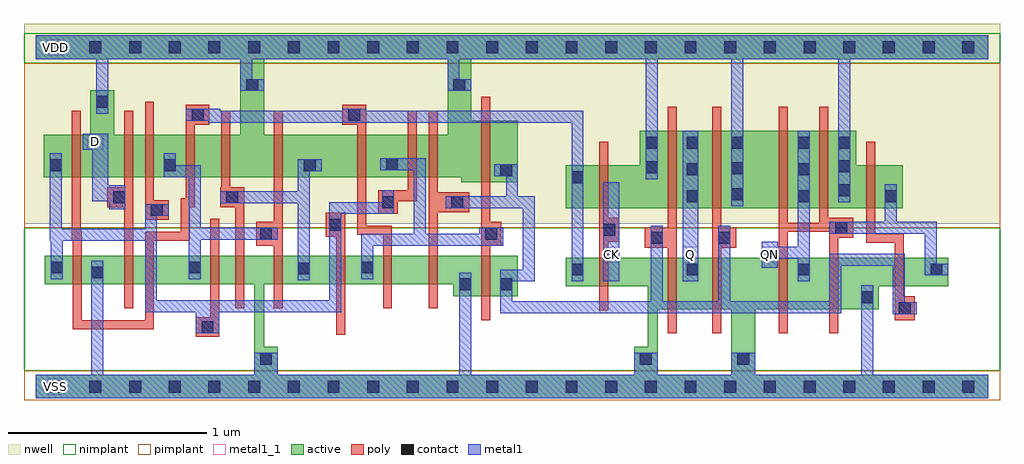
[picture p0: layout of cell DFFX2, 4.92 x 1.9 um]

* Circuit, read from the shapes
.subckt DFFX2 CK D Q QN VDD VSS
M1 VSS n1 n2 VSS nfet w=0.145u l=0.045u
M2 n3 D VSS VSS nfet w=0.145u l=0.045u
M3 n4 n1 n3 VSS nfet w=0.145u l=0.045u
M4 n5 n2 n4 VSS nfet w=0.145u l=0.045u
M5 VSS n6 n5 VSS nfet w=0.145u l=0.045u
M6 n6 n4 VSS VSS nfet w=0.145u l=0.045u
M7 n7 n2 n6 VSS nfet w=0.145u l=0.045u
M8 n8 n1 n7 VSS nfet w=0.145u l=0.045u
M9 VSS n9 n8 VSS nfet w=0.145u l=0.045u
M10 n9 n7 VSS VSS nfet w=0.205u l=0.045u
M11 VSS CK n1 VSS nfet w=0.145u l=0.045u
M12 Q n9 VSS VSS nfet w=0.26u l=0.045u m=2
M13 QN n10 VSS VSS nfet w=0.26u l=0.045u m=2
M14 n10 n9 VSS VSS nfet w=0.145u l=0.045u
M15 VDD n1 n2 VDD pfet w=0.215u l=0.045u
M16 n11 D VDD VDD pfet w=0.215u l=0.045u
M17 n4 n2 n11 VDD pfet w=0.215u l=0.045u
M18 n12 n1 n4 VDD pfet w=0.215u l=0.045u
M19 VDD n6 n12 VDD pfet w=0.215u l=0.045u
M20 n6 n4 VDD VDD pfet w=0.215u l=0.045u
M21 n7 n1 n6 VDD pfet w=0.215u l=0.045u
M22 n13 n2 n7 VDD pfet w=0.215u l=0.045u
M23 VDD n9 n13 VDD pfet w=0.215u l=0.045u
M24 n9 n7 VDD VDD pfet w=0.31u l=0.045u
M25 VDD CK n1 VDD pfet w=0.215u l=0.045u
M26 Q n9 VDD VDD pfet w=0.39u l=0.045u m=2
M27 QN n10 VDD VDD pfet w=0.39u l=0.045u m=2
M28 n10 n9 VDD VDD pfet w=0.215u l=0.045u
.ends

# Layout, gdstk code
import gdstk
lib = gdstk.Library(unit=1e-6, precision=5e-10)
def R(c, l, rs):  # rectangles x0, y0, x1, y1
    for r in rs: c.add(gdstk.rectangle(r[:2], r[2:], *l))
def A(c, l, x, y, w, h, nx, ny, dx, dy):  # array of equal rectangles
    R(c, l, [(x+i*dx, y+j*dy, x+i*dx+w, y+j*dy+h) for i in range(nx) for j in range(ny)])
def P(c, l, *ps):  # polygons
    for p in ps: c.add(gdstk.Polygon(p, *l))
active = (1, 0)
nwell = (2, 0)
poly = (3, 0)
nimplant = (4, 0)
pimplant = (5, 0)
contact = (6, 0)
metal1 = (7, 0)
metal1_1 = (7, 1)

dffx2 = lib.new_cell('DFFX2')
P(dffx2, active, [(0,1.77),(4.8,1.77),(4.8,1.65),(2.195,1.65),(2.195,1.34),(2.43,1.34),(2.43,1.03),(2.145,1.03),(2.145,1.055),(0.04,1.055),(0.04,1.27),(0.275,1.27),(0.275,1.495),(0.395,1.495),(0.395,1.27),(1.03,1.27),(1.03,1.65),(1.15,1.65),(1.15,1.27),(2.075,1.27),(2.075,1.65),(0,1.65)],
  [(3.045,1.29),(4.135,1.29),(4.135,1.115),(4.37,1.115),(4.37,0.9),(2.67,0.9),(2.67,1.115),(3.045,1.115)],
  [(0.045,0.66),(2.43,0.66),(2.43,0.455),(2.105,0.455),(2.105,0.515),(1.15,0.515),(1.15,0.2),(1.22,0.2),(1.22,0.06),(3.015,0.06),(3.015,0.2),(3.085,0.2),(3.085,0.39),(3.135,0.39),(3.135,0.06),(3.505,0.06),(3.505,0.39),(3.085,0.39),(3.085,0.505),(2.67,0.505),(2.67,0.65),(4.6,0.65),(4.6,0.505),(4.25,0.505),(4.25,0.39),(3.625,0.39),(3.625,0.06),(4.8,0.06),(4.8,-0.06),(0,-0.06),(0,0.06),(1.1,0.06),(1.1,0.515),(0.045,0.515)])
R(dffx2, nwell, [(-0.06,0.82,4.86,1.83)])
P(dffx2, poly, [(0.18,1.39),(0.225,1.39),(0.225,0.78),(0.23,0.78),(0.23,0.335),(0.55,0.335),(0.55,0.78),(0.73,0.78),(0.73,0.95),(0.755,0.95),(0.755,1.42),(0.875,1.42),(0.875,1.32),(0.8,1.32),(0.8,0.905),(0.775,0.905),(0.775,0.735),(0.595,0.735),(0.595,0.29),(0.185,0.29),(0.185,0.735),(0.18,0.735)],
  [(0.445,1.39),(0.49,1.39),(0.49,0.395),(0.445,0.395),(0.445,0.905),(0.36,0.905),(0.36,1.005),(0.445,1.005)],
  [(0.55,1.435),(0.595,1.435),(0.595,0.94),(0.67,0.94),(0.67,0.84),(0.55,0.84)],
  [(1.545,1.42),(1.665,1.42),(1.665,0.81),(1.795,0.81),(1.795,0.395),(1.75,0.395),(1.75,0.765),(1.62,0.765),(1.62,1.32),(1.545,1.32)],
  [(0.935,1.39),(0.98,1.39),(0.98,1.005),(1.05,1.005),(1.05,0.395),(1.005,0.395),(1.005,0.905),(0.93,0.905),(0.93,1.005),(0.935,1.005)],
  [(1.2,1.39),(1.245,1.39),(1.245,0.395),(1.2,0.395),(1.2,0.71),(1.11,0.71),(1.11,0.83),(1.2,0.83)],
  [(1.875,1.39),(1.92,1.39),(1.92,0.935),(1.825,0.935),(1.825,0.87),(1.725,0.87),(1.725,0.99),(1.875,0.99)],
  [(1.98,1.39),(2.025,1.39),(2.025,0.98),(2.185,0.98),(2.185,0.88),(2.025,0.88),(2.025,0.395),(1.98,0.395)],
  [(2.245,1.46),(2.29,1.46),(2.29,0.83),(2.345,0.83),(2.345,0.71),(2.29,0.71),(2.29,0.335),(2.245,0.335)],
  [(1.46,0.875),(1.56,0.875),(1.56,0.26),(1.515,0.26),(1.515,0.755),(1.46,0.755)],
  [(3.185,1.41),(3.23,1.41),(3.23,0.27),(3.185,0.27),(3.185,0.7),(3.07,0.7),(3.07,0.8),(3.185,0.8)],
  [(3.41,1.41),(3.455,1.41),(3.455,0.8),(3.53,0.8),(3.53,0.7),(3.455,0.7),(3.455,0.27),(3.41,0.27)],
  [(3.745,1.41),(3.79,1.41),(3.79,0.825),(3.95,0.825),(3.95,1.41),(3.995,1.41),(3.995,0.85),(4.12,0.85),(4.12,0.75),(4.045,0.75),(4.045,0.27),(4,0.27),(4,0.78),(3.79,0.78),(3.79,0.27),(3.745,0.27)],
  [(2.84,1.235),(2.885,1.235),(2.885,0.85),(2.94,0.85),(2.94,0.73),(2.885,0.73),(2.885,0.385),(2.84,0.385)],
  [(4.185,1.235),(4.23,1.235),(4.23,0.77),(4.375,0.77),(4.375,0.455),(4.43,0.455),(4.43,0.335),(4.33,0.335),(4.33,0.725),(4.185,0.725)],
  [(0.88,0.845),(0.925,0.845),(0.925,0.25),(0.805,0.25),(0.805,0.35),(0.88,0.35)])
R(dffx2, nimplant, [(-0.06,0.08,4.86,0.8), (-0.06,1.63,4.86,1.78)])
R(dffx2, pimplant, [(-0.06,-0.07,4.86,0.08), (-0.06,0.8,4.86,1.63)])
A(dffx2, contact, 0.07, -0.03, 0.06, 0.06, 24, 2, 0.2, 1.71)
A(dffx2, contact, 3.28, 0.93, 0.06, 0.06, 1, 3, 0, 0.135)
A(dffx2, contact, 3.84, 0.93, 0.06, 0.06, 1, 3, 0, 0.135)
A(dffx2, contact, 3.505, 0.94, 0.06, 0.06, 1, 3, 0, 0.13)
A(dffx2, contact, 4.045, 0.96, 0.06, 0.06, 1, 3, 0, 0.12)
R(dffx2, contact, [(1.13,0.11,1.19,0.17), (3.045,0.11,3.105,0.17), (3.535,0.11,3.595,0.17), (0.835,0.27,0.895,0.33), (4.35,0.365,4.41,0.425), (4.16,0.42,4.22,0.48), (2.135,0.485,2.195,0.545), (2.34,0.485,2.4,0.545), (0.28,0.545,0.34,0.605), (2.7,0.56,2.76,0.62), (3.28,0.56,3.34,0.62), (3.84,0.56,3.9,0.62), (4.51,0.56,4.57,0.62), (1.32,0.565,1.38,0.625), (0.075,0.57,0.135,0.63), (0.77,0.57,0.83,0.63), (1.64,0.57,1.7,0.63), (3.1,0.72,3.16,0.78), (3.44,0.72,3.5,0.78), (1.13,0.74,1.19,0.8), (2.265,0.74,2.325,0.8), (2.86,0.76,2.92,0.82), (4.03,0.77,4.09,0.83), (1.48,0.785,1.54,0.845), (0.58,0.86,0.64,0.92), (1.745,0.9,1.805,0.96), (2.095,0.9,2.155,0.96), (0.39,0.925,0.45,0.985), (0.96,0.925,1.02,0.985), (4.28,0.93,4.34,0.99), (2.7,1.025,2.76,1.085), (2.34,1.06,2.4,1.12), (3.075,1.075,3.135,1.135), (0.07,1.085,0.13,1.145), (0.645,1.085,0.705,1.145), (1.35,1.085,1.41,1.145), (1.765,1.09,1.825,1.15), (3.075,1.2,3.135,1.26), (0.785,1.34,0.845,1.4), (1.575,1.34,1.635,1.4), (0.305,1.405,0.365,1.465), (1.06,1.49,1.12,1.55), (2.105,1.49,2.165,1.55)])
R(dffx2, metal1, [(2.86,0.53,2.94,1.03), (3.26,0.53,3.34,1.29)])
P(dffx2, metal1, [(0,1.77),(4.8,1.77),(4.8,1.65),(4.105,1.65),(4.105,0.93),(4.045,0.93),(4.045,1.65),(3.565,1.65),(3.565,0.91),(3.505,0.91),(3.505,1.65),(3.135,1.65),(3.135,1.045),(3.075,1.045),(3.075,1.65),(2.135,1.65),(2.135,1.55),(2.195,1.55),(2.195,1.49),(2.075,1.49),(2.075,1.65),(1.09,1.65),(1.09,1.55),(1.15,1.55),(1.15,1.49),(1.03,1.49),(1.03,1.65),(0.365,1.65),(0.365,1.375),(0.305,1.375),(0.305,1.65),(0,1.65)],
  [(0.755,1.4),(0.93,1.4),(0.93,1.39),(1.545,1.39),(1.545,1.4),(1.665,1.4),(1.665,1.39),(2.76,1.39),(2.76,0.53),(2.7,0.53),(2.7,1.33),(0.87,1.33),(0.87,1.34),(0.755,1.34)],
  [(0.07,1.175),(0.13,1.175),(0.13,0.795),(0.55,0.795),(0.55,0.92),(0.67,0.92),(0.67,0.86),(0.61,0.86),(0.61,0.435),(1.48,0.435),(1.48,0.93),(1.745,0.93),(1.745,0.99),(1.805,0.99),(1.805,0.87),(1.54,0.87),(1.54,0.375),(0.925,0.375),(0.925,0.27),(0.805,0.27),(0.805,0.375),(0.55,0.375),(0.55,0.735),(0.135,0.735),(0.135,0.54),(0.075,0.54),(0.075,0.735),(0.07,0.735)],
  [(0.645,1.175),(0.705,1.175),(0.705,1.115),(0.83,1.115),(0.83,0.8),(1.22,0.8),(1.22,0.74),(0.83,0.74),(0.83,0.54),(0.77,0.54),(0.77,1.055),(0.645,1.055)],
  [(0.235,1.275),(0.365,1.275),(0.365,1.015),(0.45,1.015),(0.45,0.895),(0.37,0.895),(0.37,0.935),(0.285,0.935),(0.285,1.195),(0.235,1.195)],
  [(0.28,0.635),(0.34,0.635),(0.34,0.06),(1.1,0.06),(1.1,0.17),(1.22,0.17),(1.22,0.06),(2.135,0.06),(2.135,0.575),(2.195,0.575),(2.195,0.06),(3.015,0.06),(3.015,0.17),(3.135,0.17),(3.135,0.06),(3.505,0.06),(3.505,0.17),(3.625,0.17),(3.625,0.06),(4.16,0.06),(4.16,0.51),(4.22,0.51),(4.22,0.06),(4.8,0.06),(4.8,-0.06),(0,-0.06),(0,0.06),(0.28,0.06)],
  [(1.32,1.145),(1.44,1.145),(1.44,1.085),(1.38,1.085),(1.38,0.535),(1.32,0.535),(1.32,0.925),(0.93,0.925),(0.93,0.985),(1.32,0.985)],
  [(1.735,1.15),(1.965,1.15),(1.965,0.77),(2.235,0.77),(2.235,0.8),(2.355,0.8),(2.355,0.71),(1.7,0.71),(1.7,0.54),(1.64,0.54),(1.64,0.77),(1.905,0.77),(1.905,1.09),(1.735,1.09)],
  [(2.31,1.12),(2.43,1.12),(2.43,0.96),(2.515,0.96),(2.515,0.53),(2.4,0.53),(2.4,0.43),(3.1,0.43),(3.1,0.81),(3.16,0.81),(3.16,0.43),(3.44,0.43),(3.44,0.81),(3.5,0.81),(3.5,0.43),(4,0.43),(4,0.67),(4.38,0.67),(4.38,0.425),(4.44,0.425),(4.44,0.365),(4.32,0.365),(4.32,0.61),(4.06,0.61),(4.06,0.37),(2.34,0.37),(2.34,0.59),(2.455,0.59),(2.455,0.9),(2.065,0.9),(2.065,0.96),(2.37,0.96),(2.37,1.06),(2.31,1.06)],
  [(3.66,0.73),(3.74,0.73),(3.74,0.705),(3.84,0.705),(3.84,1.29),(3.9,1.29),(3.9,0.53),(3.84,0.53),(3.84,0.645),(3.74,0.645),(3.74,0.6),(3.66,0.6)],
  [(4.28,1.02),(4.34,1.02),(4.34,0.83),(4.54,0.83),(4.54,0.62),(4.6,0.62),(4.6,0.56),(4.48,0.56),(4.48,0.77),(4,0.77),(4,0.83),(4.28,0.83)])
A(dffx2, metal1_1, 2.86, 0.625, 0.08, 0.08, 3, 1, 0.4, 0)
R(dffx2, metal1_1, [(0.06,-0.04,0.14,0.04), (0.26,1.195,0.34,1.275), (0.06,1.67,0.14,1.75)])
dffx2.add(gdstk.Label('QN', (3.7,0.665), layer=7, texttype=1))
dffx2.add(gdstk.Label('Q', (3.3,0.665), layer=7, texttype=1))
dffx2.add(gdstk.Label('CK', (2.9,0.665), layer=7, texttype=1))
dffx2.add(gdstk.Label('D', (0.3,1.235), layer=7, texttype=1))
dffx2.add(gdstk.Label('VDD', (0.1,1.71), layer=7, texttype=1))
dffx2.add(gdstk.Label('VSS', (0.1,0), layer=7, texttype=1))
dffx2.add(gdstk.Label('DFFX2', (0,0), layer=63, texttype=0))

lib.write_gds('DFFX2.gds')
